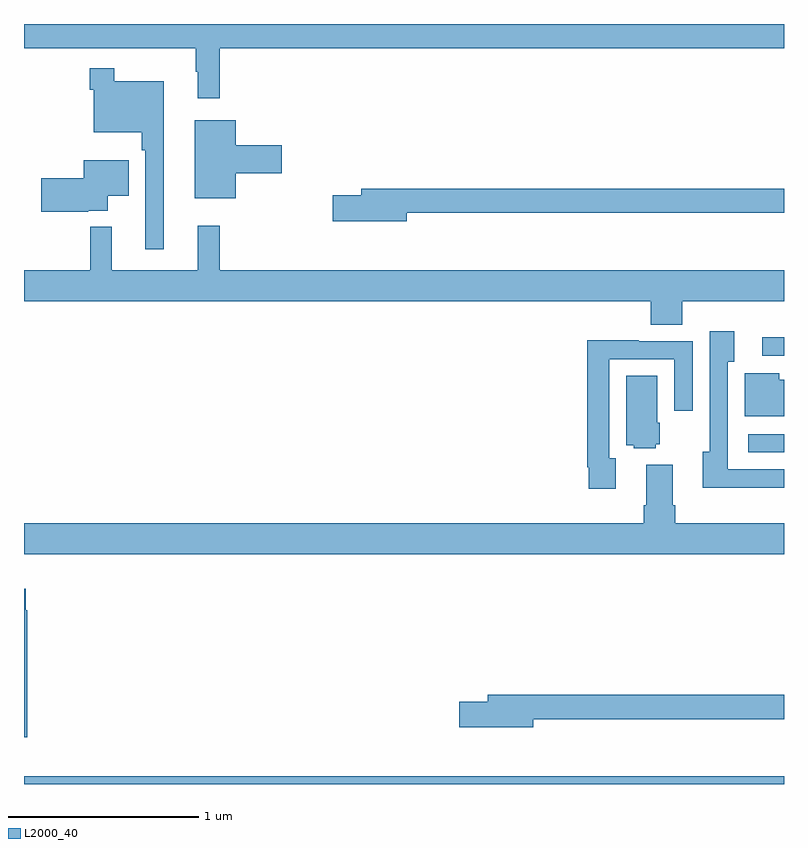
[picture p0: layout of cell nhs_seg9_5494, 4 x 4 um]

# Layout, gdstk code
import gdstk
lib = gdstk.Library(unit=1e-6, precision=1e-09)
def R(c, l, rs):  # rectangles x0, y0, x1, y1
    for r in rs: c.add(gdstk.rectangle(r[:2], r[2:], *l))
def P(c, l, *ps):  # polygons
    for p in ps: c.add(gdstk.Polygon(p, *l))
L2000_40 = (2000, 40)

nhs_seg9_5494 = lib.new_cell('nhs_seg9_5494')
R(nhs_seg9_5494, L2000_40, [(429,1240.5,433,1240.54), (432.813,1242.246,433,1242.342), (432.885,1242.753,433,1242.851)])
P(nhs_seg9_5494, L2000_40, [(430.031,1244.372),(433,1244.372),(433,1244.5),(429,1244.5),(429,1244.372),(429.903,1244.372),(429.903,1244.249),(429.914,1244.249),(429.914,1244.109),(430.031,1244.109)],
  [(429.736,1244.2),(429.475,1244.2),(429.475,1244.266),(429.346,1244.266),(429.346,1244.153),(429.366,1244.153),(429.366,1243.931),(429.619,1243.931),(429.619,1243.835),(429.639,1243.835),(429.639,1243.314),(429.736,1243.314)],
  [(430.114,1243.715),(430.357,1243.715),(430.357,1243.862),(430.114,1243.862),(430.114,1243.993),(429.899,1243.993),(429.899,1243.583),(430.114,1243.583)],
  [(429.338,1243.517),(429.442,1243.517),(429.442,1243.595),(429.55,1243.595),(429.55,1243.783),(429.314,1243.783),(429.314,1243.688),(429.09,1243.688),(429.09,1243.512),(429.338,1243.512)],
  [(431.014,1243.506),(433,1243.506),(433,1243.634),(430.775,1243.634),(430.775,1243.598),(430.626,1243.598),(430.626,1243.463),(431.014,1243.463)],
  [(432.299,1242.916),(432.464,1242.916),(432.464,1243.04),(433,1243.04),(433,1243.204),(430.031,1243.204),(430.031,1243.438),(429.914,1243.438),(429.914,1243.204),(429.461,1243.204),(429.461,1243.432),(429.348,1243.432),(429.348,1243.204),(429,1243.204),(429,1243.04),(432.299,1243.04)],
  [(433,1242.156),(432.705,1242.156),(432.705,1242.722),(432.739,1242.722),(432.739,1242.883),(432.609,1242.883),(432.609,1242.25),(432.572,1242.25),(432.572,1242.059),(433,1242.059)],
  [(432.115,1242.215),(432.081,1242.215),(432.081,1242.735),(432.423,1242.735),(432.423,1242.465),(432.519,1242.465),(432.519,1242.831),(432.235,1242.831),(432.235,1242.835),(431.965,1242.835),(431.965,1242.166),(431.973,1242.166),(431.973,1242.054),(432.115,1242.054)],
  [(433,1242.627),(432.975,1242.627),(432.975,1242.663),(432.794,1242.663),(432.794,1242.435),(433,1242.435)],
  [(432.324,1242.288),(432.346,1242.288),(432.346,1242.402),(432.334,1242.402),(432.334,1242.65),(432.17,1242.65),(432.17,1242.284),(432.21,1242.284),(432.21,1242.266),(432.324,1242.266)],
  [(433,1241.872),(432.428,1241.872),(432.428,1241.968),(432.415,1241.968),(432.415,1242.181),(432.275,1242.181),(432.275,1241.968),(432.263,1241.968),(432.263,1241.872),(429,1241.872),(429,1241.708),(433,1241.708)],
  [(429.017,1241.414),(429.01,1241.414),(429.01,1241.527),(429,1241.527),(429,1240.745),(429.017,1240.745)],
  [(431.68,1240.842),(433,1240.842),(433,1240.97),(431.441,1240.97),(431.441,1240.934),(431.292,1240.934),(431.292,1240.799),(431.68,1240.799)])

lib.write_gds('nhs_seg9_5494.gds')
